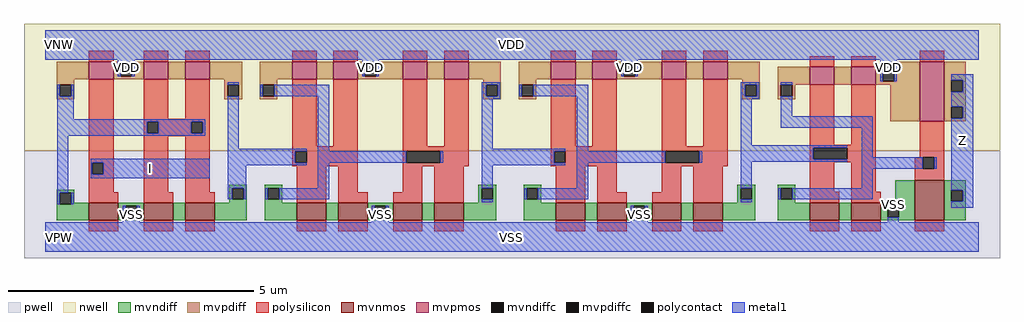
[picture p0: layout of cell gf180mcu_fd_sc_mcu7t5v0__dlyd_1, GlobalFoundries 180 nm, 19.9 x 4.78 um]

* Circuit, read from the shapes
.subckt gf180mcu_fd_sc_mcu7t5v0__dlyd_1 I Z VDD VNW VPW VSS
XM1 VSS I n1 VPW nfet_06v0 w=0.36u l=0.6u
XM2 n2 n1 VSS VPW nfet_06v0 w=0.36u l=0.6u
XM3 n3 n1 n2 VPW nfet_06v0 w=0.36u l=0.6u
XM4 n4 n3 n5 VPW nfet_06v0 w=0.36u l=0.6u
XM5 VSS n3 n4 VPW nfet_06v0 w=0.36u l=0.6u
XM6 n6 n5 VSS VPW nfet_06v0 w=0.36u l=0.6u
XM7 n7 n5 n6 VPW nfet_06v0 w=0.36u l=0.6u
XM8 n8 n7 n9 VPW nfet_06v0 w=0.36u l=0.6u
XM9 VSS n7 n8 VPW nfet_06v0 w=0.36u l=0.6u
XM10 n10 n9 VSS VPW nfet_06v0 w=0.36u l=0.6u
XM11 n11 n9 n10 VPW nfet_06v0 w=0.36u l=0.6u
XM12 n12 n11 n13 VPW nfet_06v0 w=0.365u l=0.6u
XM13 VSS n11 n12 VPW nfet_06v0 w=0.365u l=0.6u
XM14 Z n13 VSS VPW nfet_06v0 w=0.82u l=0.6u
XM15 VDD I n1 VNW pfet_06v0 w=0.36u l=0.5u
XM16 n14 n1 VDD VNW pfet_06v0 w=0.36u l=0.5u
XM17 n3 n1 n14 VNW pfet_06v0 w=0.36u l=0.5u
XM18 n15 n3 n5 VNW pfet_06v0 w=0.36u l=0.5u
XM19 VDD n3 n15 VNW pfet_06v0 w=0.36u l=0.5u
XM20 n16 n5 VDD VNW pfet_06v0 w=0.36u l=0.5u
XM21 n7 n5 n16 VNW pfet_06v0 w=0.36u l=0.5u
XM22 n17 n7 n9 VNW pfet_06v0 w=0.36u l=0.5u
XM23 VDD n7 n17 VNW pfet_06v0 w=0.36u l=0.5u
XM24 n18 n9 VDD VNW pfet_06v0 w=0.36u l=0.5u
XM25 n11 n9 n18 VNW pfet_06v0 w=0.36u l=0.5u
XM26 n19 n11 n13 VNW pfet_06v0 w=0.36u l=0.5u
XM27 VDD n11 n19 VNW pfet_06v0 w=0.36u l=0.5u
XM28 Z n13 VDD VNW pfet_06v0 w=1.22u l=0.5u
.ends

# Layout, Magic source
magic
tech gf180mcuD
magscale 1 10
<< nwell >>
rect -86 352 3894 870
<< pwell >>
rect -86 -86 3894 352
<< mvnmos >>
rect 179 68 299 140
rect 403 68 523 140
rect 571 68 691 140
rect 1027 68 1147 140
rect 1195 68 1315 140
rect 1419 68 1539 140
rect 1587 68 1707 140
rect 2083 68 2203 140
rect 2251 68 2371 140
rect 2475 68 2595 140
rect 2643 68 2763 140
rect 3119 68 3239 141
rect 3287 68 3407 141
rect 3547 68 3667 232
<< mvpmos >>
rect 179 644 279 716
rect 403 644 503 716
rect 571 644 671 716
rect 1007 644 1107 716
rect 1175 644 1275 716
rect 1459 644 1559 716
rect 1627 644 1727 716
rect 2063 644 2163 716
rect 2231 644 2331 716
rect 2515 644 2615 716
rect 2683 644 2783 716
rect 3119 622 3219 694
rect 3287 622 3387 694
rect 3567 472 3667 716
<< mvndiff >>
rect 47 180 119 193
rect 47 134 60 180
rect 106 140 119 180
rect 751 200 823 213
rect 751 154 764 200
rect 810 154 823 200
rect 751 140 823 154
rect 106 134 179 140
rect 47 68 179 134
rect 299 127 403 140
rect 299 81 328 127
rect 374 81 403 127
rect 299 68 403 81
rect 523 68 571 140
rect 691 68 823 140
rect 895 200 967 213
rect 895 154 908 200
rect 954 154 967 200
rect 895 140 967 154
rect 1767 200 1839 213
rect 1767 154 1780 200
rect 1826 154 1839 200
rect 1767 140 1839 154
rect 895 68 1027 140
rect 1147 68 1195 140
rect 1315 127 1419 140
rect 1315 81 1344 127
rect 1390 81 1419 127
rect 1315 68 1419 81
rect 1539 68 1587 140
rect 1707 68 1839 140
rect 1951 200 2023 213
rect 1951 154 1964 200
rect 2010 154 2023 200
rect 1951 140 2023 154
rect 2823 200 2895 213
rect 2823 154 2836 200
rect 2882 154 2895 200
rect 2823 140 2895 154
rect 1951 68 2083 140
rect 2203 68 2251 140
rect 2371 127 2475 140
rect 2371 81 2400 127
rect 2446 81 2475 127
rect 2371 68 2475 81
rect 2595 68 2643 140
rect 2763 68 2895 140
rect 2987 200 3059 213
rect 2987 154 3000 200
rect 3046 154 3059 200
rect 2987 141 3059 154
rect 3467 141 3547 232
rect 2987 68 3119 141
rect 3239 68 3287 141
rect 3407 127 3547 141
rect 3407 81 3436 127
rect 3482 81 3547 127
rect 3407 68 3547 81
rect 3667 192 3755 232
rect 3667 146 3696 192
rect 3742 146 3755 192
rect 3667 68 3755 146
<< mvpdiff >>
rect 47 644 179 716
rect 279 703 403 716
rect 279 657 308 703
rect 354 657 403 703
rect 279 644 403 657
rect 503 644 571 716
rect 671 644 803 716
rect 47 621 119 644
rect 47 575 60 621
rect 106 575 119 621
rect 47 562 119 575
rect 731 621 803 644
rect 731 575 744 621
rect 790 575 803 621
rect 731 562 803 575
rect 875 644 1007 716
rect 1107 644 1175 716
rect 1275 703 1459 716
rect 1275 657 1304 703
rect 1350 657 1459 703
rect 1275 644 1459 657
rect 1559 644 1627 716
rect 1727 644 1859 716
rect 875 621 947 644
rect 875 575 888 621
rect 934 575 947 621
rect 875 562 947 575
rect 1787 621 1859 644
rect 1787 575 1800 621
rect 1846 575 1859 621
rect 1787 562 1859 575
rect 1931 644 2063 716
rect 2163 644 2231 716
rect 2331 703 2515 716
rect 2331 657 2360 703
rect 2406 657 2515 703
rect 2331 644 2515 657
rect 2615 644 2683 716
rect 2783 644 2915 716
rect 3447 694 3567 716
rect 1931 621 2003 644
rect 1931 575 1944 621
rect 1990 575 2003 621
rect 1931 562 2003 575
rect 2843 621 2915 644
rect 2843 575 2856 621
rect 2902 575 2915 621
rect 2843 562 2915 575
rect 2987 622 3119 694
rect 3219 622 3287 694
rect 3387 681 3567 694
rect 3387 635 3416 681
rect 3462 635 3567 681
rect 3387 622 3567 635
rect 2987 621 3059 622
rect 2987 575 3000 621
rect 3046 575 3059 621
rect 2987 562 3059 575
rect 3447 472 3567 622
rect 3667 639 3755 716
rect 3667 593 3696 639
rect 3742 593 3755 639
rect 3667 531 3755 593
rect 3667 485 3696 531
rect 3742 485 3755 531
rect 3667 472 3755 485
<< mvndiffc >>
rect 60 134 106 180
rect 764 154 810 200
rect 328 81 374 127
rect 908 154 954 200
rect 1780 154 1826 200
rect 1344 81 1390 127
rect 1964 154 2010 200
rect 2836 154 2882 200
rect 2400 81 2446 127
rect 3000 154 3046 200
rect 3436 81 3482 127
rect 3696 146 3742 192
<< mvpdiffc >>
rect 308 657 354 703
rect 60 575 106 621
rect 744 575 790 621
rect 1304 657 1350 703
rect 888 575 934 621
rect 1800 575 1846 621
rect 2360 657 2406 703
rect 1944 575 1990 621
rect 2856 575 2902 621
rect 3416 635 3462 681
rect 3000 575 3046 621
rect 3696 593 3742 639
rect 3696 485 3742 531
<< polysilicon >>
rect 179 716 279 760
rect 403 716 503 760
rect 571 716 671 760
rect 1007 716 1107 760
rect 1175 716 1275 760
rect 1459 716 1559 760
rect 1627 716 1727 760
rect 2063 716 2163 760
rect 2231 716 2331 760
rect 2515 716 2615 760
rect 2683 716 2783 760
rect 179 303 279 644
rect 179 257 192 303
rect 238 257 279 303
rect 179 184 279 257
rect 403 483 503 644
rect 571 483 671 644
rect 403 470 671 483
rect 403 424 416 470
rect 462 424 596 470
rect 642 424 671 470
rect 403 411 671 424
rect 403 184 503 411
rect 571 184 671 411
rect 1007 371 1107 644
rect 1175 371 1275 644
rect 1007 350 1275 371
rect 1007 304 1020 350
rect 1066 304 1275 350
rect 1007 290 1275 304
rect 179 140 299 184
rect 403 140 523 184
rect 571 140 691 184
rect 1027 140 1147 290
rect 1195 184 1275 290
rect 1459 371 1559 644
rect 1627 371 1727 644
rect 3119 694 3219 738
rect 3287 694 3387 738
rect 3567 716 3667 760
rect 1459 350 1727 371
rect 1459 304 1472 350
rect 1612 304 1727 350
rect 1459 290 1727 304
rect 2063 371 2163 644
rect 2231 371 2331 644
rect 2063 350 2331 371
rect 2063 304 2076 350
rect 2122 304 2331 350
rect 2063 290 2331 304
rect 1459 184 1539 290
rect 1195 140 1315 184
rect 1419 140 1539 184
rect 1587 140 1707 290
rect 2083 140 2203 290
rect 2251 184 2331 290
rect 2515 371 2615 644
rect 2683 371 2783 644
rect 2515 350 2783 371
rect 2515 304 2528 350
rect 2668 304 2783 350
rect 2515 290 2783 304
rect 3119 377 3219 622
rect 3287 377 3387 622
rect 3119 364 3387 377
rect 3119 318 3132 364
rect 3272 318 3387 364
rect 3567 325 3667 472
rect 3567 323 3580 325
rect 3119 305 3387 318
rect 2515 184 2595 290
rect 2251 140 2371 184
rect 2475 140 2595 184
rect 2643 140 2763 290
rect 3119 185 3219 305
rect 3287 185 3387 305
rect 3547 279 3580 323
rect 3626 279 3667 325
rect 3547 232 3667 279
rect 3119 141 3239 185
rect 3287 141 3407 185
rect 179 24 299 68
rect 403 24 523 68
rect 571 24 691 68
rect 1027 24 1147 68
rect 1195 24 1315 68
rect 1419 24 1539 68
rect 1587 24 1707 68
rect 2083 24 2203 68
rect 2251 24 2371 68
rect 2475 24 2595 68
rect 2643 24 2763 68
rect 3119 24 3239 68
rect 3287 24 3407 68
rect 3547 24 3667 68
<< polycontact >>
rect 192 257 238 303
rect 416 424 462 470
rect 596 424 642 470
rect 1020 304 1066 350
rect 1472 304 1612 350
rect 2076 304 2122 350
rect 2528 304 2668 350
rect 3132 318 3272 364
rect 3580 279 3626 325
<< metal1 >>
rect 0 724 3808 844
rect 297 703 365 724
rect 297 657 308 703
rect 354 657 365 703
rect 1293 703 1361 724
rect 1293 657 1304 703
rect 1350 657 1361 703
rect 2349 703 2417 724
rect 2349 657 2360 703
rect 2406 657 2417 703
rect 3405 681 3473 724
rect 3405 635 3416 681
rect 3462 635 3473 681
rect 3696 639 3784 664
rect 744 621 790 632
rect 1780 621 1857 632
rect 2836 621 2913 632
rect 49 575 60 621
rect 106 575 117 621
rect 49 481 117 575
rect 877 575 888 621
rect 934 575 1158 621
rect 49 470 653 481
rect 49 424 416 470
rect 462 424 596 470
rect 642 424 653 470
rect 49 413 653 424
rect 49 180 95 413
rect 744 361 790 575
rect 744 350 1066 361
rect 186 303 671 320
rect 186 257 192 303
rect 238 257 671 303
rect 186 240 671 257
rect 744 304 1020 350
rect 744 293 1066 304
rect 1112 350 1158 575
rect 1780 575 1800 621
rect 1846 575 1857 621
rect 1933 575 1944 621
rect 1990 575 2214 621
rect 1780 564 1857 575
rect 1780 361 1826 564
rect 1780 350 2122 361
rect 1112 304 1472 350
rect 1612 304 1623 350
rect 1780 304 2076 350
rect 744 200 821 293
rect 1112 200 1158 304
rect 49 134 60 180
rect 106 134 117 180
rect 744 154 764 200
rect 810 154 821 200
rect 897 154 908 200
rect 954 154 1158 200
rect 1780 293 2122 304
rect 2168 350 2214 575
rect 2836 575 2856 621
rect 2902 575 2913 621
rect 2836 564 2913 575
rect 3000 621 3046 632
rect 2836 375 2882 564
rect 3000 493 3046 575
rect 3742 593 3784 639
rect 3696 531 3784 593
rect 3000 447 3376 493
rect 2836 364 3272 375
rect 2168 304 2528 350
rect 2668 304 2679 350
rect 2836 318 3132 364
rect 2836 307 3272 318
rect 3330 325 3376 447
rect 3742 485 3784 531
rect 1780 200 1826 293
rect 2168 200 2214 304
rect 1953 154 1964 200
rect 2010 154 2214 200
rect 2836 200 2882 307
rect 3330 279 3580 325
rect 3626 279 3637 325
rect 3330 200 3376 279
rect 2989 154 3000 200
rect 3046 154 3376 200
rect 3696 192 3784 485
rect 1780 143 1826 154
rect 2836 143 2882 154
rect 3742 146 3784 192
rect 3436 127 3482 138
rect 317 81 328 127
rect 374 81 385 127
rect 317 60 385 81
rect 1333 81 1344 127
rect 1390 81 1401 127
rect 1333 60 1401 81
rect 2389 81 2400 127
rect 2446 81 2457 127
rect 2389 60 2457 81
rect 3696 120 3784 146
rect 3436 60 3482 81
rect 0 -60 3808 60
<< labels >>
flabel metal1 s 0 724 3808 844 0 FreeSans 400 0 0 0 VDD
port 3 nsew power bidirectional abutment
flabel metal1 s 186 240 671 320 0 FreeSans 400 0 0 0 I
port 1 nsew default input
flabel metal1 s 3436 127 3482 138 0 FreeSans 400 0 0 0 VSS
port 6 nsew ground bidirectional abutment
flabel metal1 s 3696 120 3784 664 0 FreeSans 400 0 0 0 Z
port 2 nsew default output
flabel nwell s 10 734 110 834 0 FreeSans 400 0 0 0 VNW
port 4 nsew power bidirectional
flabel pwell s 10 -50 110 50 0 FreeSans 400 0 0 0 VPW
port 5 nsew ground bidirectional
rlabel metal1 s 3405 657 3473 724 1 VDD
port 3 nsew power bidirectional abutment
rlabel metal1 s 2349 657 2417 724 1 VDD
port 3 nsew power bidirectional abutment
rlabel metal1 s 1293 657 1361 724 1 VDD
port 3 nsew power bidirectional abutment
rlabel metal1 s 297 657 365 724 1 VDD
port 3 nsew power bidirectional abutment
rlabel metal1 s 3405 635 3473 657 1 VDD
port 3 nsew power bidirectional abutment
rlabel metal1 s 3436 60 3482 127 1 VSS
port 6 nsew ground bidirectional abutment
rlabel metal1 s 2389 60 2457 127 1 VSS
port 6 nsew ground bidirectional abutment
rlabel metal1 s 1333 60 1401 127 1 VSS
port 6 nsew ground bidirectional abutment
rlabel metal1 s 317 60 385 127 1 VSS
port 6 nsew ground bidirectional abutment
rlabel metal1 s 0 -60 3808 60 1 VSS
port 6 nsew ground bidirectional abutment
<< properties >>
string FIXED_BBOX 0 0 3808 784
string GDS_END 1128852
string GDS_FILE $PDKPATH/libs.ref/gf180mcu_fd_sc_mcu7t5v0/gds/gf180mcu_fd_sc_mcu7t5v0.gds
string GDS_START 1122080
string LEFclass core
string LEFsite GF018hv5v_mcu_sc7
string LEFsymmetry X Y
<< end >>
